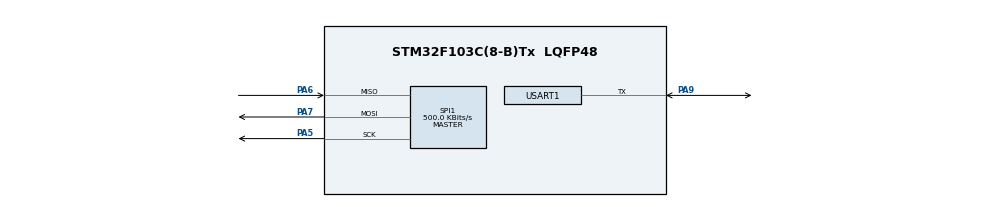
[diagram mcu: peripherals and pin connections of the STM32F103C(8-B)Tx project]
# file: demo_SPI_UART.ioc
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Mcu.Family=STM32F1
Mcu.Name=STM32F103C(8-B)Tx
Mcu.Package=LQFP48
NVIC.PriorityGroup=NVIC_PRIORITYGROUP_4
PA5.Mode=Full_Duplex_Master
PA5.Signal=SPI1_SCK
PA6.Mode=Full_Duplex_Master
PA6.Signal=SPI1_MISO
PA7.Mode=Full_Duplex_Master
PA7.Signal=SPI1_MOSI
PA9.Mode=Half_duplex(single_wire_mode)
PA9.Signal=USART1_TX
ProjectManager.HeapSize=0x200
ProjectManager.StackSize=0x400
ProjectManager.TargetToolchain=STM32CubeIDE
RCC.APB1Freq_Value=8000000
RCC.APB2Freq_Value=8000000
SPI1.BaudRatePrescaler=SPI_BAUDRATEPRESCALER_16
SPI1.CalculateBaudRate=500.0 KBits/s
SPI1.Direction=SPI_DIRECTION_2LINES
SPI1.Mode=SPI_MODE_MASTER
SPI1.VirtualType=VM_MASTER
USART1.BaudRate=9600
USART1.VirtualMode=VM_ASYNC
VP_SYS_VS_ND.Mode=No_Debug
board=custom

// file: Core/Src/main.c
/* USER CODE BEGIN Header */
/**
  ******************************************************************************
  * @file           : main.c
  * @brief          : Main program body
  ******************************************************************************
  * @attention
  *
  * Copyright (c) 2025 STMicroelectronics.
  * All rights reserved.
  *
  * This software is licensed under terms that can be found in the LICENSE file
  * in the root directory of this software component.
  * If no LICENSE file comes with this software, it is provided AS-IS.
  *
  ******************************************************************************
  */
/* USER CODE END Header */
#include "main.h"

/* USER CODE BEGIN Includes */
#include <string.h>
/* USER CODE END Includes */

SPI_HandleTypeDef hspi1;

UART_HandleTypeDef huart1;

void SystemClock_Config(void);
static void MX_GPIO_Init(void);
static void MX_SPI1_Init(void);
static void MX_USART1_UART_Init(void);

/* USER CODE BEGIN 0 */
#define EEPROM_WRITE_ENABLE  0x06
#define EEPROM_WRITE         0x02

void EEPROM_Write(uint16_t address, uint8_t *data, uint16_t size) {
    uint8_t cmd[3];
    cmd[0] = EEPROM_WRITE;
    cmd[1] = (address >> 8) & 0xFF;
    cmd[2] = address & 0xFF;

    HAL_GPIO_WritePin(GPIOA, GPIO_PIN_4, GPIO_PIN_RESET);
    uint8_t wren = EEPROM_WRITE_ENABLE;
    HAL_SPI_Transmit(&hspi1, &wren, 1, HAL_MAX_DELAY);
    HAL_GPIO_WritePin(GPIOA, GPIO_PIN_4, GPIO_PIN_SET);

    HAL_GPIO_WritePin(GPIOA, GPIO_PIN_4, GPIO_PIN_RESET);
    HAL_SPI_Transmit(&hspi1, cmd, 3, HAL_MAX_DELAY);
    HAL_SPI_Transmit(&hspi1, data, size, HAL_MAX_DELAY);
    HAL_GPIO_WritePin(GPIOA, GPIO_PIN_4, GPIO_PIN_SET);

    HAL_Delay(5); // Wait for write cycle
}

void EEPROM_WriteStatusRegister(uint8_t status) {
    uint8_t cmd[2];
    cmd[0] = 0x01;
    cmd[1] = status;

    HAL_GPIO_WritePin(GPIOA, GPIO_PIN_4, GPIO_PIN_RESET);
    HAL_SPI_Transmit(&hspi1, cmd, 2, HAL_MAX_DELAY);
    HAL_GPIO_WritePin(GPIOA, GPIO_PIN_4, GPIO_PIN_SET);
}

/* USER CODE END 0 */

int main(void)
{

  /* MCU Configuration--------------------------------------------------------*/

  /* Reset of all peripherals, Initializes the Flash interface and the Systick. */
  HAL_Init();

  /* Configure the system clock */
  SystemClock_Config();

  /* Initialize all configured peripherals */
  MX_GPIO_Init();
  MX_SPI1_Init();
  MX_USART1_UART_Init();
  /* USER CODE BEGIN 2 */
  uint8_t write_data[] = "Hello World!";

  EEPROM_WriteStatusRegister(0x00);

  // Write data to EEPROM
  EEPROM_Write(0x0000, write_data, strlen((char *)write_data));

  // Send data to UART
  HAL_UART_Transmit(&huart1, write_data, strlen((char *)write_data), HAL_MAX_DELAY);

  /* USER CODE END 2 */

  /* Infinite loop */
  while (1)
  {

  }
}

void SystemClock_Config(void)
{
  RCC_OscInitTypeDef RCC_OscInitStruct = {0};
  RCC_ClkInitTypeDef RCC_ClkInitStruct = {0};

  /** Initializes the RCC Oscillators according to the specified parameters
  * in the RCC_OscInitTypeDef structure.
  */
  RCC_OscInitStruct.OscillatorType = RCC_OSCILLATORTYPE_HSI;
  RCC_OscInitStruct.HSIState = RCC_HSI_ON;
  RCC_OscInitStruct.HSICalibrationValue = RCC_HSICALIBRATION_DEFAULT;
  RCC_OscInitStruct.PLL.PLLState = RCC_PLL_NONE;
  if (HAL_RCC_OscConfig(&RCC_OscInitStruct) != HAL_OK)
  {
    Error_Handler();
  }

  /** Initializes the CPU, AHB and APB buses clocks
  */
  RCC_ClkInitStruct.ClockType = RCC_CLOCKTYPE_HCLK|RCC_CLOCKTYPE_SYSCLK
                              |RCC_CLOCKTYPE_PCLK1|RCC_CLOCKTYPE_PCLK2;
  RCC_ClkInitStruct.SYSCLKSource = RCC_SYSCLKSOURCE_HSI;
  RCC_ClkInitStruct.AHBCLKDivider = RCC_SYSCLK_DIV1;
  RCC_ClkInitStruct.APB1CLKDivider = RCC_HCLK_DIV1;
  RCC_ClkInitStruct.APB2CLKDivider = RCC_HCLK_DIV1;

  if (HAL_RCC_ClockConfig(&RCC_ClkInitStruct, FLASH_LATENCY_0) != HAL_OK)
  {
    Error_Handler();
  }
}

static void MX_SPI1_Init(void)
{

  /* SPI1 parameter configuration*/
  hspi1.Instance = SPI1;
  hspi1.Init.Mode = SPI_MODE_MASTER;
  hspi1.Init.Direction = SPI_DIRECTION_2LINES;
  hspi1.Init.DataSize = SPI_DATASIZE_8BIT;
  hspi1.Init.CLKPolarity = SPI_POLARITY_LOW;
  hspi1.Init.CLKPhase = SPI_PHASE_1EDGE;
  hspi1.Init.NSS = SPI_NSS_SOFT;
  hspi1.Init.BaudRatePrescaler = SPI_BAUDRATEPRESCALER_16;
  hspi1.Init.FirstBit = SPI_FIRSTBIT_MSB;
  hspi1.Init.TIMode = SPI_TIMODE_DISABLE;
  hspi1.Init.CRCCalculation = SPI_CRCCALCULATION_DISABLE;
  hspi1.Init.CRCPolynomial = 10;
  if (HAL_SPI_Init(&hspi1) != HAL_OK)
  {
    Error_Handler();
  }

}

static void MX_USART1_UART_Init(void)
{

  huart1.Instance = USART1;
  huart1.Init.BaudRate = 9600;
  huart1.Init.WordLength = UART_WORDLENGTH_8B;
  huart1.Init.StopBits = UART_STOPBITS_1;
  huart1.Init.Parity = UART_PARITY_NONE;
  huart1.Init.Mode = UART_MODE_TX_RX;
  huart1.Init.HwFlowCtl = UART_HWCONTROL_NONE;
  huart1.Init.OverSampling = UART_OVERSAMPLING_16;
  if (HAL_HalfDuplex_Init(&huart1) != HAL_OK)
  {
    Error_Handler();
  }

}

static void MX_GPIO_Init(void)
{
/* USER CODE BEGIN MX_GPIO_Init_1 */
	GPIO_InitTypeDef GPIO_InitStruct = {0};
/* USER CODE END MX_GPIO_Init_1 */

  /* GPIO Ports Clock Enable */
  __HAL_RCC_GPIOA_CLK_ENABLE();

/* USER CODE BEGIN MX_GPIO_Init_2 */
  GPIO_InitStruct.Pin = GPIO_PIN_4;
  GPIO_InitStruct.Mode = GPIO_MODE_OUTPUT_PP;
  GPIO_InitStruct.Pull = GPIO_NOPULL;
  GPIO_InitStruct.Speed = GPIO_SPEED_FREQ_HIGH;
  HAL_GPIO_Init(GPIOA, &GPIO_InitStruct);
/* USER CODE END MX_GPIO_Init_2 */
}

void Error_Handler(void)
{
  __disable_irq();
  while (1)
  {
  }
}
